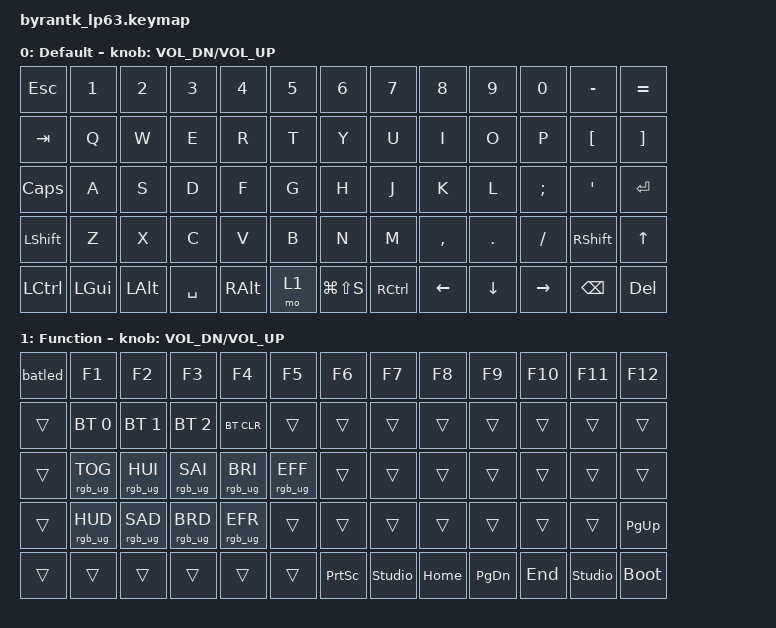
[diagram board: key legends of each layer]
#include <behaviors.dtsi>
#include <dt-bindings/zmk/keys.h>
#include <dt-bindings/zmk/rgb.h>
#include <dt-bindings/zmk/bt.h>
#include <dt-bindings/zmk/ext_power.h>
#include <dt-bindings/zmk/outputs.h>

/ {
	behaviors {
		batled: batled {
			compatible = "zmk,behavior-batled";
			label = "BATTERY_LED";
			#binding-cells = <0>;
		};
	};

	keymap {
		compatible = "zmk,keymap";

		default_layer {
			display-name = "Default";
			bindings = <
				&kp ESC    &kp N1    &kp N2    &kp N3    &kp N4    &kp N5    &kp N6    &kp N7    &kp N8    &kp N9    &kp N0    &kp MINUS &kp EQUAL
				&kp TAB    &kp Q     &kp W     &kp E     &kp R     &kp T     &kp Y     &kp U     &kp I     &kp O     &kp P     &kp LBKT  &kp RBKT
				&kp CLCK   &kp A     &kp S     &kp D     &kp F     &kp G     &kp H     &kp J     &kp K     &kp L     &kp SEMI  &kp SQT   &kp RET
				&kp LSHFT  &kp Z     &kp X     &kp C     &kp V     &kp B     &kp N     &kp M     &kp COMMA &kp DOT   &kp FSLH  &kp RSHFT &kp UP
				&kp LCTRL  &kp LGUI  &kp LALT  &kp SPACE &kp RALT  &mo 1     &kp LG(LS(S)) &kp RCTRL &kp LEFT  &kp DOWN  &kp RIGHT &kp BSPC  &kp DEL
			>;
			sensor-bindings = <&inc_dec_kp C_VOL_DN C_VOL_UP>;
		};

		fn_layer {
			display-name = "Function";
			bindings = <
				&batled    &kp F1    &kp F2    &kp F3    &kp F4    &kp F5    &kp F6    &kp F7    &kp F8    &kp F9    &kp F10   &kp F11   &kp F12
				&trans     &bt BT_SEL 0 &bt BT_SEL 1 &bt BT_SEL 2 &bt BT_CLR &trans &trans &trans &trans &trans &trans &trans &trans
				&trans     &rgb_ug RGB_TOG &rgb_ug RGB_HUI &rgb_ug RGB_SAI &rgb_ug RGB_BRI &rgb_ug RGB_EFF &trans &trans &trans &trans &trans &trans &trans
				&trans     &rgb_ug RGB_HUD &rgb_ug RGB_SAD &rgb_ug RGB_BRD &rgb_ug RGB_EFR &trans &trans &trans &trans &trans &trans &trans &kp PG_UP
				&trans     &trans    &trans    &trans    &trans    &trans    &kp PRINTSCREEN &studio_unlock &kp HOME &kp PG_DN &kp END &studio_unlock &bootloader
			>;
			sensor-bindings = <&inc_dec_kp C_VOL_DN C_VOL_UP>;
		};
	};
};
